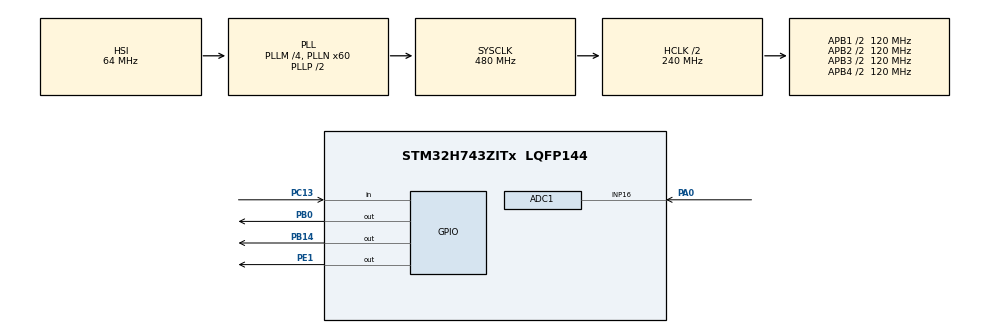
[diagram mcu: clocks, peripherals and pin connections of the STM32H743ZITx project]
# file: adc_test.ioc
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ADC1.Channel-2\#ChannelRegularConversion=ADC_CHANNEL_16
ADC1.ClockPrescaler=ADC_CLOCK_ASYNC_DIV2
ADC1.ContinuousConvMode=ENABLE
ADC1.ConversionDataManagement=ADC_CONVERSIONDATA_DMA_CIRCULAR
ADC1.EOCSelection=ADC_EOC_SINGLE_CONV
ADC1.EnableAnalogWatchDog1=false
ADC1.ExternalTrigConv=ADC_EXTERNALTRIG_T8_TRGO2
ADC1.NbrOfConversion=1
ADC1.NbrOfConversionFlag=1
ADC1.OffsetNumber-2\#ChannelRegularConversion=ADC_OFFSET_NONE
ADC1.OffsetSignedSaturation-2\#ChannelRegularConversion=DISABLE
ADC1.Overrun=ADC_OVR_DATA_OVERWRITTEN
ADC1.Rank-2\#ChannelRegularConversion=1
ADC1.SamplingTime-2\#ChannelRegularConversion=ADC_SAMPLETIME_1CYCLE_5
ADC1.master=1
CORTEX_M7.default_mode_Activation=1
Dma.ADC1.0.Direction=DMA_PERIPH_TO_MEMORY
Dma.ADC1.0.EventEnable=DISABLE
Dma.ADC1.0.FIFOMode=DMA_FIFOMODE_DISABLE
Dma.ADC1.0.Instance=DMA1_Stream0
Dma.ADC1.0.MemDataAlignment=DMA_MDATAALIGN_HALFWORD
Dma.ADC1.0.MemInc=DMA_MINC_ENABLE
Dma.ADC1.0.Mode=DMA_CIRCULAR
Dma.ADC1.0.PeriphDataAlignment=DMA_PDATAALIGN_HALFWORD
Dma.ADC1.0.PeriphInc=DMA_PINC_DISABLE
Dma.ADC1.0.Polarity=HAL_DMAMUX_REQ_GEN_RISING
Dma.ADC1.0.Priority=DMA_PRIORITY_LOW
Dma.ADC1.0.RequestNumber=1
Dma.ADC1.0.SignalID=NONE
Dma.ADC1.0.SyncEnable=DISABLE
Dma.ADC1.0.SyncPolarity=HAL_DMAMUX_SYNC_NO_EVENT
Dma.ADC1.0.SyncRequestNumber=1
Dma.ADC1.0.SyncSignalID=NONE
Dma.Request0=ADC1
Mcu.Family=STM32H7
Mcu.Name=STM32H743ZITx
Mcu.Package=LQFP144
NUCLEO-H743ZI2.BUTTON=1
NUCLEO-H743ZI2.LD1=true
NUCLEO-H743ZI2.LD2=true
NUCLEO-H743ZI2.LD3=true
NUCLEO-H743ZI2.VCP=true
NVIC.ADC_IRQn=true\:0\:0\:false\:false\:true\:true\:true\:true
NVIC.DMA1_Stream0_IRQn=true\:0\:0\:false\:false\:true\:false\:true\:true
NVIC.EXTI15_10_IRQn=true\:0\:0\:false\:false\:true\:false\:true\:true
NVIC.PriorityGroup=NVIC_PRIORITYGROUP_4
NVIC.TIM8_UP_TIM13_IRQn=true\:0\:0\:false\:false\:true\:true\:true\:true
PA0.Mode=IN16-Single-Ended
PA0.Signal=ADC1_INP16
PA13\ (JTMS/SWDIO).GPIO_Label=JTMS
PA13\ (JTMS/SWDIO).Signal=DEBUG_JTMS-SWDIO
PA14\ (JTCK/SWCLK).GPIO_Label=JTCK
PA14\ (JTCK/SWCLK).Signal=DEBUG_JTCK-SWCLK
PB0.Signal=GPIO_Output
PB14.Signal=GPIO_Output
PC13.Signal=GPIO_Input
PC14-OSC32_IN\ (OSC32_IN).Signal=RCC_OSC32_IN
PC15-OSC32_OUT\ (OSC32_OUT).Signal=RCC_OSC32_OUT
PD8.Signal=USART3_TX
PD9.Signal=USART3_RX
PE1.Signal=GPIO_Output
PH0-OSC_IN\ (PH0).Signal=RCC_OSC_IN
PH1-OSC_OUT\ (PH1).Signal=RCC_OSC_OUT
ProjectManager.HeapSize=0x200
ProjectManager.StackSize=0x400
ProjectManager.TargetToolchain=STM32CubeIDE
RCC.ADCFreq_Value=80000000
RCC.APB1Freq_Value=120000000
RCC.APB2Freq_Value=120000000
RCC.APB3Freq_Value=120000000
RCC.APB4Freq_Value=120000000
RCC.CortexFreq_Value=480000000
RCC.D1PPRE=RCC_APB3_DIV2
RCC.D2PPRE1=RCC_APB1_DIV2
RCC.D2PPRE2=RCC_APB2_DIV2
RCC.D3PPRE=RCC_APB4_DIV2
RCC.DIVM1=4
RCC.DIVM2=4
RCC.DIVN1=60
RCC.DIVN2=10
RCC.HCLKFreq_Value=240000000
RCC.HPRE=RCC_HCLK_DIV2
RCC.PLL2FRACN=0
RCC.PLL3FRACN=0
RCC.PLLFRACN=0
RCC.SYSCLKFreq_VALUE=480000000
RCC.SYSCLKSource=RCC_SYSCLKSOURCE_PLLCLK
RCC.USBFreq_Value=480000000
TIM8.Period=6 - 1
TIM8.Prescaler=16 - 1
TIM8.TIM_MasterOutputTrigger=TIM_TRGO_UPDATE
VP_MEMORYMAP_VS_MEMORYMAP.Mode=CurAppReg
VP_NUCLEO-H743ZI2_VS_BSP_COMMON.Mode=COMMON
VP_TIM8_VS_ClockSourceINT.Mode=Internal
board=NUCLEO-H743ZI2

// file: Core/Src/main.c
/* USER CODE BEGIN Header */
/**
  ******************************************************************************
  * @file           : main.c
  * @brief          : Main program body
  ******************************************************************************
  * @attention
  *
  * Copyright (c) 2025 STMicroelectronics.
  * All rights reserved.
  *
  * This software is licensed under terms that can be found in the LICENSE file
  * in the root directory of this software component.
  * If no LICENSE file comes with this software, it is provided AS-IS.
  *
  ******************************************************************************
  */
/* USER CODE END Header */
#include "main.h"

/* USER CODE BEGIN Includes */

#define ARM_MATH_CM7
#include "arm_math.h"

/* USER CODE END Includes */

/* USER CODE BEGIN PD */
#define SAMPLE_RATE_HZ (2.5 * 1e6)
#define ADC_BUFFER_LENGTH 1024
#define FFT_BUFFER_SIZE 2048
#define PRINT_TIME 2000
/* USER CODE END PD */

COM_InitTypeDef BspCOMInit;
ADC_HandleTypeDef hadc1;
DMA_HandleTypeDef hdma_adc1;

TIM_HandleTypeDef htim8;

/* USER CODE BEGIN PV */

volatile uint16_t adc_data[ADC_BUFFER_LENGTH];

arm_rfft_fast_instance_f32 fftHandler;

float fftInBuf[FFT_BUFFER_SIZE];
float fftOutBuf[FFT_BUFFER_SIZE];

uint8_t fftFlag = 0;
uint16_t fftIndex = 0;

/* USER CODE END PV */

void SystemClock_Config(void);
static void MPU_Config(void);
static void MX_GPIO_Init(void);
static void MX_DMA_Init(void);
static void MX_ADC1_Init(void);
static void MX_TIM8_Init(void);

/* USER CODE BEGIN 0 */

//void HAL_ADC_ConvHalfCpltCallback(ADC_HandleTypeDef *hadc) {
//	for(uint16_t i = 0; i < (ADC_BUFFER_LENGTH / 2) - 1; ++i) {
//		fftInBuf[fftIndex++] = adc_data[i];
//		if(fftIndex == FFT_BUFFER_SIZE) {
//
//		}
//	}
//}

void HAL_ADC_ConvCpltCallback(ADC_HandleTypeDef *hadc) {
	for(uint16_t i = 0; i < ADC_BUFFER_LENGTH; ++i) {

			fftInBuf[fftIndex++] = adc_data[i];

			if(fftIndex == FFT_BUFFER_SIZE) {

				arm_rfft_fast_f32(&fftHandler, fftInBuf, fftOutBuf, 0);

				// Set FFT flag
				fftFlag = 1;

				fftIndex = 0;
			}
	}
}

/* USER CODE END 0 */

int main(void)
{

  /* MPU Configuration--------------------------------------------------------*/
  MPU_Config();

  /* MCU Configuration--------------------------------------------------------*/

  /* Reset of all peripherals, Initializes the Flash interface and the Systick. */
  HAL_Init();

  /* Configure the system clock */
  SystemClock_Config();

  /* Initialize all configured peripherals */
  MX_GPIO_Init();
  MX_DMA_Init();
  MX_ADC1_Init();
  MX_TIM8_Init();
  /* USER CODE BEGIN 2 */

  // Initialize FFT

  HAL_ADCEx_Calibration_Start(&hadc1,ADC_CALIB_OFFSET,ADC_SINGLE_ENDED);

  HAL_TIM_Base_Start(&htim8);

  HAL_ADC_Start_DMA(&hadc1, (uint32_t *)&adc_data, ADC_BUFFER_LENGTH);

  arm_rfft_fast_init_f32(&fftHandler, FFT_BUFFER_SIZE);

  /* USER CODE END 2 */

  /* Initialize leds */
  BSP_LED_Init(LED_GREEN);
  BSP_LED_Init(LED_YELLOW);
  BSP_LED_Init(LED_RED);

  /* Initialize USER push-button, will be used to trigger an interrupt each time it's pressed.*/
  BSP_PB_Init(BUTTON_USER, BUTTON_MODE_EXTI);

  /* Initialize COM1 port (115200, 8 bits (7-bit data + 1 stop bit), no parity */
  BspCOMInit.BaudRate   = 115200;
  BspCOMInit.WordLength = COM_WORDLENGTH_8B;
  BspCOMInit.StopBits   = COM_STOPBITS_1;
  BspCOMInit.Parity     = COM_PARITY_NONE;
  BspCOMInit.HwFlowCtl  = COM_HWCONTROL_NONE;
  if (BSP_COM_Init(COM1, &BspCOMInit) != BSP_ERROR_NONE)
  {
    Error_Handler();
  }

  /* Infinite loop */
  /* USER CODE BEGIN WHILE */
  uint32_t printTimer = 0;

  float peakVal = 0.0f;
  uint16_t peakHz = 0;

  while (1)
  {

    /* USER CODE END WHILE */

    /* USER CODE BEGIN 3 */
	 if(fftFlag) {
		 peakVal = 0.0f;
		 peakHz = 0;

		 uint16_t freqIndex = 0;
		 for(uint16_t i = 0; i < FFT_BUFFER_SIZE; i += 2) {

			 float currVal = sqrtf((fftOutBuf[i] * fftOutBuf[i]) + (fftOutBuf[i+1] * fftOutBuf[i+1]));

			 if(currVal > peakVal) {

				 peakVal = currVal;

				 peakHz = (uint16_t)((freqIndex * SAMPLE_RATE_HZ) / (float)FFT_BUFFER_SIZE);

			 }

			 freqIndex++;
		 }

		 fftFlag = 0;
	 }

	 if(HAL_GetTick() - printTimer > PRINT_TIME) {

		 printf("peak Hz: %u\n", peakHz);

		 printTimer = HAL_GetTick();
	 }

  }
  /* USER CODE END 3 */
}

void SystemClock_Config(void)
{
  RCC_OscInitTypeDef RCC_OscInitStruct = {0};
  RCC_ClkInitTypeDef RCC_ClkInitStruct = {0};

  /** Supply configuration update enable
  */
  HAL_PWREx_ConfigSupply(PWR_LDO_SUPPLY);

  /** Configure the main internal regulator output voltage
  */
  __HAL_PWR_VOLTAGESCALING_CONFIG(PWR_REGULATOR_VOLTAGE_SCALE0);

  while(!__HAL_PWR_GET_FLAG(PWR_FLAG_VOSRDY)) {}

  /** Initializes the RCC Oscillators according to the specified parameters
  * in the RCC_OscInitTypeDef structure.
  */
  RCC_OscInitStruct.OscillatorType = RCC_OSCILLATORTYPE_HSI;
  RCC_OscInitStruct.HSIState = RCC_HSI_DIV1;
  RCC_OscInitStruct.HSICalibrationValue = RCC_HSICALIBRATION_DEFAULT;
  RCC_OscInitStruct.PLL.PLLState = RCC_PLL_ON;
  RCC_OscInitStruct.PLL.PLLSource = RCC_PLLSOURCE_HSI;
  RCC_OscInitStruct.PLL.PLLM = 4;
  RCC_OscInitStruct.PLL.PLLN = 60;
  RCC_OscInitStruct.PLL.PLLP = 2;
  RCC_OscInitStruct.PLL.PLLQ = 2;
  RCC_OscInitStruct.PLL.PLLR = 2;
  RCC_OscInitStruct.PLL.PLLRGE = RCC_PLL1VCIRANGE_3;
  RCC_OscInitStruct.PLL.PLLVCOSEL = RCC_PLL1VCOWIDE;
  RCC_OscInitStruct.PLL.PLLFRACN = 0;
  if (HAL_RCC_OscConfig(&RCC_OscInitStruct) != HAL_OK)
  {
    Error_Handler();
  }

  /** Initializes the CPU, AHB and APB buses clocks
  */
  RCC_ClkInitStruct.ClockType = RCC_CLOCKTYPE_HCLK|RCC_CLOCKTYPE_SYSCLK
                              |RCC_CLOCKTYPE_PCLK1|RCC_CLOCKTYPE_PCLK2
                              |RCC_CLOCKTYPE_D3PCLK1|RCC_CLOCKTYPE_D1PCLK1;
  RCC_ClkInitStruct.SYSCLKSource = RCC_SYSCLKSOURCE_PLLCLK;
  RCC_ClkInitStruct.SYSCLKDivider = RCC_SYSCLK_DIV1;
  RCC_ClkInitStruct.AHBCLKDivider = RCC_HCLK_DIV2;
  RCC_ClkInitStruct.APB3CLKDivider = RCC_APB3_DIV2;
  RCC_ClkInitStruct.APB1CLKDivider = RCC_APB1_DIV2;
  RCC_ClkInitStruct.APB2CLKDivider = RCC_APB2_DIV2;
  RCC_ClkInitStruct.APB4CLKDivider = RCC_APB4_DIV2;

  if (HAL_RCC_ClockConfig(&RCC_ClkInitStruct, FLASH_LATENCY_4) != HAL_OK)
  {
    Error_Handler();
  }
}

static void MX_ADC1_Init(void)
{

  ADC_MultiModeTypeDef multimode = {0};
  ADC_ChannelConfTypeDef sConfig = {0};

  /** Common config
  */
  hadc1.Instance = ADC1;
  hadc1.Init.ClockPrescaler = ADC_CLOCK_ASYNC_DIV2;
  hadc1.Init.Resolution = ADC_RESOLUTION_16B;
  hadc1.Init.ScanConvMode = ADC_SCAN_DISABLE;
  hadc1.Init.EOCSelection = ADC_EOC_SINGLE_CONV;
  hadc1.Init.LowPowerAutoWait = DISABLE;
  hadc1.Init.ContinuousConvMode = ENABLE;
  hadc1.Init.NbrOfConversion = 1;
  hadc1.Init.DiscontinuousConvMode = DISABLE;
  hadc1.Init.ExternalTrigConv = ADC_EXTERNALTRIG_T8_TRGO2;
  hadc1.Init.ExternalTrigConvEdge = ADC_EXTERNALTRIGCONVEDGE_RISING;
  hadc1.Init.ConversionDataManagement = ADC_CONVERSIONDATA_DMA_CIRCULAR;
  hadc1.Init.Overrun = ADC_OVR_DATA_OVERWRITTEN;
  hadc1.Init.LeftBitShift = ADC_LEFTBITSHIFT_NONE;
  hadc1.Init.OversamplingMode = DISABLE;
  hadc1.Init.Oversampling.Ratio = 1;
  if (HAL_ADC_Init(&hadc1) != HAL_OK)
  {
    Error_Handler();
  }

  /** Configure the ADC multi-mode
  */
  multimode.Mode = ADC_MODE_INDEPENDENT;
  if (HAL_ADCEx_MultiModeConfigChannel(&hadc1, &multimode) != HAL_OK)
  {
    Error_Handler();
  }

  /** Configure Regular Channel
  */
  sConfig.Channel = ADC_CHANNEL_16;
  sConfig.Rank = ADC_REGULAR_RANK_1;
  sConfig.SamplingTime = ADC_SAMPLETIME_1CYCLE_5;
  sConfig.SingleDiff = ADC_SINGLE_ENDED;
  sConfig.OffsetNumber = ADC_OFFSET_NONE;
  sConfig.Offset = 0;
  sConfig.OffsetSignedSaturation = DISABLE;
  if (HAL_ADC_ConfigChannel(&hadc1, &sConfig) != HAL_OK)
  {
    Error_Handler();
  }

}

static void MX_TIM8_Init(void)
{

  TIM_ClockConfigTypeDef sClockSourceConfig = {0};
  TIM_MasterConfigTypeDef sMasterConfig = {0};

  htim8.Instance = TIM8;
  htim8.Init.Prescaler = 16 - 1;
  htim8.Init.CounterMode = TIM_COUNTERMODE_UP;
  htim8.Init.Period = 6 - 1;
  htim8.Init.ClockDivision = TIM_CLOCKDIVISION_DIV1;
  htim8.Init.RepetitionCounter = 0;
  htim8.Init.AutoReloadPreload = TIM_AUTORELOAD_PRELOAD_DISABLE;
  if (HAL_TIM_Base_Init(&htim8) != HAL_OK)
  {
    Error_Handler();
  }
  sClockSourceConfig.ClockSource = TIM_CLOCKSOURCE_INTERNAL;
  if (HAL_TIM_ConfigClockSource(&htim8, &sClockSourceConfig) != HAL_OK)
  {
    Error_Handler();
  }
  sMasterConfig.MasterOutputTrigger = TIM_TRGO_UPDATE;
  sMasterConfig.MasterOutputTrigger2 = TIM_TRGO2_RESET;
  sMasterConfig.MasterSlaveMode = TIM_MASTERSLAVEMODE_DISABLE;
  if (HAL_TIMEx_MasterConfigSynchronization(&htim8, &sMasterConfig) != HAL_OK)
  {
    Error_Handler();
  }

}

static void MX_DMA_Init(void)
{

  /* DMA controller clock enable */
  __HAL_RCC_DMA1_CLK_ENABLE();

  /* DMA interrupt init */
  /* DMA1_Stream0_IRQn interrupt configuration */
  HAL_NVIC_SetPriority(DMA1_Stream0_IRQn, 0, 0);
  HAL_NVIC_EnableIRQ(DMA1_Stream0_IRQn);

}

static void MX_GPIO_Init(void)
{

  /* GPIO Ports Clock Enable */
  __HAL_RCC_GPIOC_CLK_ENABLE();
  __HAL_RCC_GPIOH_CLK_ENABLE();
  __HAL_RCC_GPIOA_CLK_ENABLE();

}

 /* MPU Configuration */

void MPU_Config(void)
{
  MPU_Region_InitTypeDef MPU_InitStruct = {0};

  /* Disables the MPU */
  HAL_MPU_Disable();

  /** Initializes and configures the Region and the memory to be protected
  */
  MPU_InitStruct.Enable = MPU_REGION_ENABLE;
  MPU_InitStruct.Number = MPU_REGION_NUMBER0;
  MPU_InitStruct.BaseAddress = 0x0;
  MPU_InitStruct.Size = MPU_REGION_SIZE_4GB;
  MPU_InitStruct.SubRegionDisable = 0x87;
  MPU_InitStruct.TypeExtField = MPU_TEX_LEVEL0;
  MPU_InitStruct.AccessPermission = MPU_REGION_NO_ACCESS;
  MPU_InitStruct.DisableExec = MPU_INSTRUCTION_ACCESS_DISABLE;
  MPU_InitStruct.IsShareable = MPU_ACCESS_SHAREABLE;
  MPU_InitStruct.IsCacheable = MPU_ACCESS_NOT_CACHEABLE;
  MPU_InitStruct.IsBufferable = MPU_ACCESS_NOT_BUFFERABLE;

  HAL_MPU_ConfigRegion(&MPU_InitStruct);
  /* Enables the MPU */
  HAL_MPU_Enable(MPU_PRIVILEGED_DEFAULT);

}

void Error_Handler(void)
{
  __disable_irq();
  while (1)
  {
  }
}
